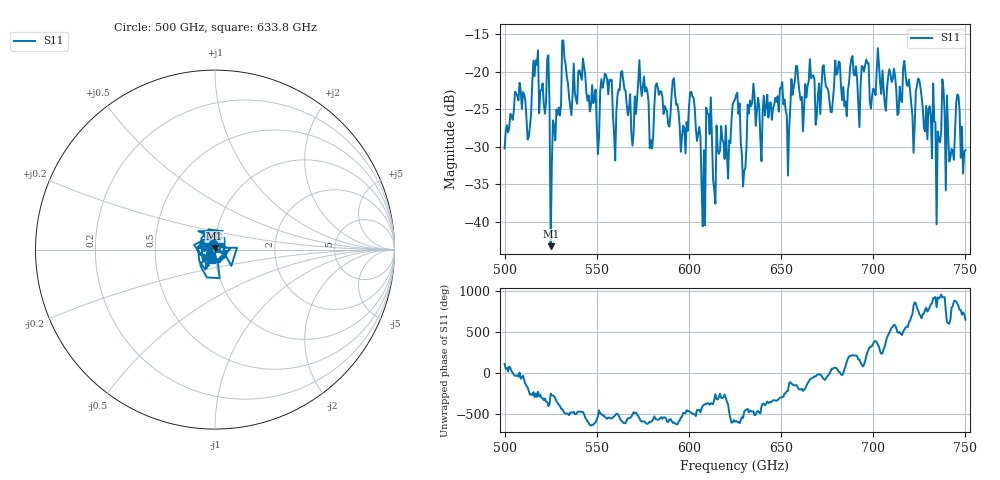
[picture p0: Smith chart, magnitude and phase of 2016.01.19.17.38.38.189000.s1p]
!Created with skrf (http://scikit-rf.org).
# GHz S RI R 50.0
!freq ReS11 ImS11
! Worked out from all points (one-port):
!   401 points, 500 GHz to 750 GHz, reference 50 ohm
!   lowest |S11| = -43.3 dB at 525 GHz (marker M1), VSWR 1.01, Z = 49.8 + j0.65 ohm
!   |S11| at or under -10 dB: start of sweep to end of sweep
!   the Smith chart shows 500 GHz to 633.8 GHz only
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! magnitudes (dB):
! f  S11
! 500 GHz  -30.2
! 506.9 GHz  -23.2
! 513.1 GHz  -28.7
! 516.9 GHz  -18.5
! 525 GHz  -43.3
! 531.2 GHz  -15.8
! 550 GHz  -27.2
! 562.5 GHz  -22.4
! 570 GHz  -28.2
! 574.4 GHz  -23.2
! 579.4 GHz  -29.1
! 583.1 GHz  -22.2
! 593.8 GHz  -24.3
! 596.9 GHz  -27.2
! 601.9 GHz  -23.3
! 607.5 GHz  -40.6
! 610.6 GHz  -25.7
! 614.4 GHz  -37.6
! 625 GHz  -23.7
! 630 GHz  -33.2
! 634.4 GHz  -24.0
! 653.8 GHz  -33.8
! 656.2 GHz  -23.1
! 687.5 GHz  -19.3
! 718.8 GHz  -21.9
! 735.6 GHz  -29.1
! 745.6 GHz  -23.0
! 750 GHz  -30.5
